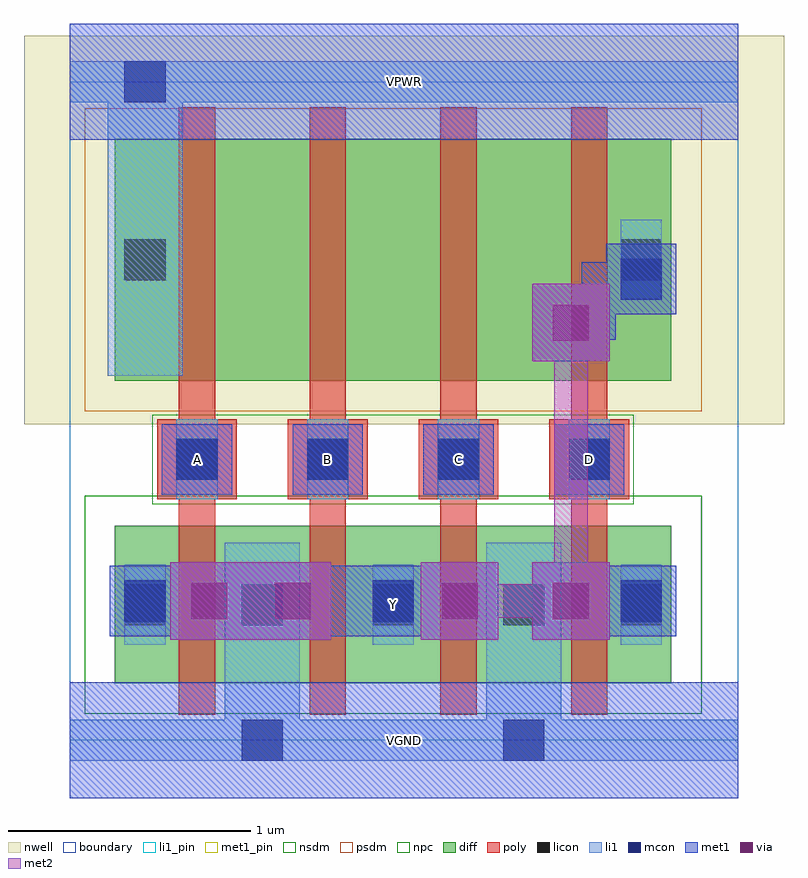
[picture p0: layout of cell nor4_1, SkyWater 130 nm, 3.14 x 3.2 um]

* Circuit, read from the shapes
.subckt nor4_1 A B C D VGND VPWR Y
XM1 VGND A Y VSUBS sky130_fd_pr__nfet_01v8 w=0.65 l=0.15
XM2 Y B VGND VSUBS sky130_fd_pr__nfet_01v8 w=0.65 l=0.15
XM3 VGND C Y VSUBS sky130_fd_pr__nfet_01v8 w=0.65 l=0.15
XM4 Y D VGND VSUBS sky130_fd_pr__nfet_01v8 w=0.65 l=0.15
XM5 n1 A VPWR n2 sky130_fd_pr__pfet_01v8 w=1 l=0.15
XM6 n3 B n1 n2 sky130_fd_pr__pfet_01v8 w=1 l=0.15
XM7 n4 C n3 n2 sky130_fd_pr__pfet_01v8 w=1 l=0.15
XM8 Y D n4 n2 sky130_fd_pr__pfet_01v8 w=1 l=0.15
.ends

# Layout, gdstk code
import gdstk
lib = gdstk.Library(unit=1e-6, precision=1e-09)
def R(c, l, rs):  # rectangles x0, y0, x1, y1
    for r in rs: c.add(gdstk.rectangle(r[:2], r[2:], *l))
def A(c, l, x, y, w, h, nx, ny, dx, dy):  # array of equal rectangles
    R(c, l, [(x+i*dx, y+j*dy, x+i*dx+w, y+j*dy+h) for i in range(nx) for j in range(ny)])
nwell = (64, 20)
diff = (65, 20)
poly = (66, 20)
licon = (66, 44)
li1_pin = (67, 16)
li1 = (67, 20)
mcon = (67, 44)
met1_pin = (68, 16)
met1 = (68, 20)
via = (68, 44)
met2 = (69, 20)
nsdm = (93, 44)
psdm = (94, 20)
npc = (95, 20)
boundary = (235, 4)

nor4_1 = lib.new_cell('nor4_1')
R(nor4_1, nwell, [(-0.19,1.305,2.95,2.91), (0,1.305,2.76,2.91)])
R(nor4_1, diff, [(0.185,0.235,2.485,0.885), (0.185,1.485,2.485,2.485)])
A(nor4_1, poly, 0.45, 0.105, 0.15, 2.51, 4, 1, 0.54, 0)
A(nor4_1, poly, 0.36, 0.995, 0.33, 0.33, 4, 1, 0.54, 0)
A(nor4_1, licon, 0.71, 0.475, 0.17, 0.17, 3, 1, 0.54, 0)
A(nor4_1, licon, 0.44, 1.075, 0.17, 0.17, 4, 1, 0.54, 0)
R(nor4_1, licon, [(0.225,0.475,0.395,0.645), (2.275,0.475,2.445,0.645), (0.225,1.9,0.395,2.07), (2.275,1.9,2.445,2.07)])
R(nor4_1, li1_pin, [(1.25,0.395,1.42,0.725)])
A(nor4_1, li1, 0.225, 0.395, 0.17, 0.33, 3, 1, 1.025, 0)
A(nor4_1, li1, 0.44, 0.995, 0.17, 0.33, 4, 1, 0.54, 0)
R(nor4_1, li1, [(0,-0.085,2.76,0.085), (0.64,-0.085,0.95,0.815), (1.72,-0.085,2.03,0.815), (0.155,1.505,0.465,2.805), (2.275,1.82,2.445,2.15), (0,2.635,2.76,2.805)])
A(nor4_1, mcon, 0.225, 0.49, 0.17, 0.17, 3, 1, 1.025, 0)
A(nor4_1, mcon, 0.44, 1.075, 0.17, 0.17, 4, 1, 0.54, 0)
R(nor4_1, mcon, [(0.71,-0.085,0.88,0.085), (1.79,-0.085,1.96,0.085), (2.275,1.82,2.445,1.99), (0.225,2.635,0.395,2.805)])
A(nor4_1, met1_pin, 0.38, 1.015, 0.29, 0.29, 4, 1, 0.54, 0)
R(nor4_1, met1_pin, [(0,-0.24,2.76,0.24), (0,2.48,2.76,2.96)])
A(nor4_1, met1, 0.165, 0.43, 0.29, 0.29, 3, 1, 1.025, 0)
A(nor4_1, met1, 0.38, 1.015, 0.29, 0.29, 4, 1, 0.54, 0)
R(nor4_1, met1, [(0,-0.24,2.76,0.24), (0.415,0.415,0.735,0.735), (0.735,0.415,0.76,0.735), (0.76,0.415,1.08,0.735), (1.45,0.415,1.77,0.735), (1.91,0.415,2.23,0.735), (1.08,0.43,1.19,0.72), (0.24,0.505,0.53,0.645), (0.39,0.505,0.645,0.645), (0.645,0.505,0.76,0.645), (0.735,0.505,0.85,0.645), (0.85,0.505,1.22,0.645), (1.08,0.505,1.405,0.645), (1.08,0.505,1.68,0.645), (2,0.505,2.255,0.645), (2.115,0.505,2.43,0.645), (1.91,1.565,2.23,1.885), (2,1.655,2.255,1.795), (2.115,1.655,2.255,1.975), (2.215,1.76,2.505,2.05), (2.115,1.835,2.43,1.975), (0,2.48,2.76,2.96)])
R(nor4_1, via, [(0.5,0.5,0.65,0.65), (0.845,0.5,0.995,0.65), (1.535,0.5,1.685,0.65), (1.995,0.5,2.145,0.65), (1.995,1.65,2.145,1.8)])
R(nor4_1, met2, [(0.415,0.415,0.735,0.735), (0.735,0.415,0.76,0.735), (0.76,0.415,1.08,0.735), (1.45,0.415,1.77,0.735), (1.91,0.415,2.23,0.735), (0.505,0.505,0.99,0.645), (1.54,0.505,2.14,0.645), (2,0.505,2.14,1.795), (1.91,1.565,2.23,1.885)])
R(nor4_1, nsdm, [(0.06,0.11,2.61,1.01)])
R(nor4_1, psdm, [(0.06,1.36,2.61,2.61)])
R(nor4_1, npc, [(0.34,0.975,2.33,1.345)])
R(nor4_1, boundary, [(0,0,2.76,2.72)])
nor4_1.add(gdstk.Label('Y', (1.335,0.56), layer=67, texttype=5))
nor4_1.add(gdstk.Label('A', (0.525,1.16), layer=68, texttype=5))
nor4_1.add(gdstk.Label('B', (1.065,1.16), layer=68, texttype=5))
nor4_1.add(gdstk.Label('C', (1.605,1.16), layer=68, texttype=5))
nor4_1.add(gdstk.Label('D', (2.145,1.16), layer=68, texttype=5))
nor4_1.add(gdstk.Label('VPWR', (1.38,2.72), layer=68, texttype=5))
nor4_1.add(gdstk.Label('VGND', (1.38,0), layer=68, texttype=5))
nor4_1.add(gdstk.Label('Y', (1.335,0.56), layer=67, texttype=16))
nor4_1.add(gdstk.Label('A', (0.525,1.16), layer=68, texttype=16))
nor4_1.add(gdstk.Label('B', (1.065,1.16), layer=68, texttype=16))
nor4_1.add(gdstk.Label('C', (1.605,1.16), layer=68, texttype=16))
nor4_1.add(gdstk.Label('D', (2.145,1.16), layer=68, texttype=16))
nor4_1.add(gdstk.Label('VPWR', (1.38,2.72), layer=68, texttype=16))
nor4_1.add(gdstk.Label('VGND', (1.38,0), layer=68, texttype=16))

lib.write_gds('nor4_1.gds')
